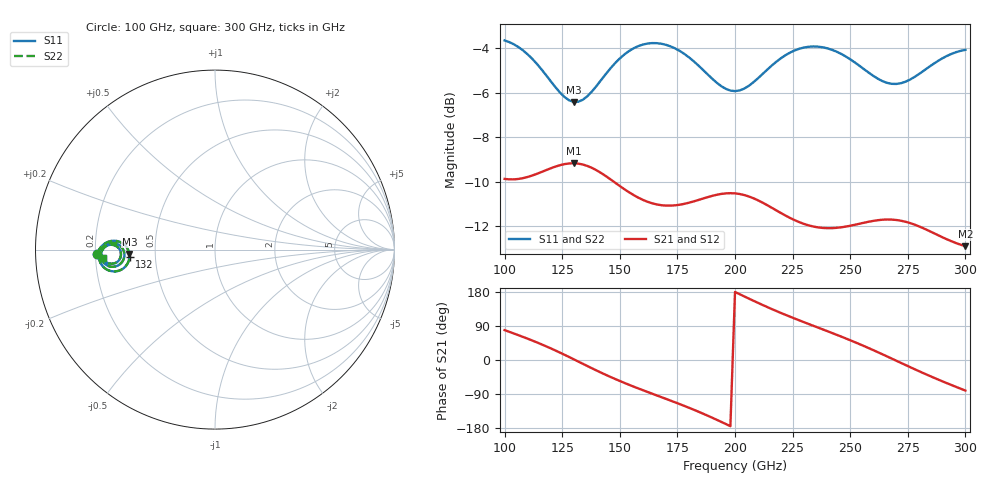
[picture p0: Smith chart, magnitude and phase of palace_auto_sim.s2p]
#  GHZ S DB R 50
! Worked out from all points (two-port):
!   101 points, 100 GHz to 300 GHz, reference 50 ohm
!   highest |S21| = -9.17 dB at 130 GHz (marker M1); lowest = -12.9 dB at 300 GHz (marker M2)
!   |S21| within 3 dB of the highest: start of sweep to 283.5 GHz
!   lowest |S11| = -6.4 dB at 130 GHz (marker M3), VSWR 2.83, Z = 17.7 - j1.1 ohm
!   |S11| at or under -10 dB: nowhere
!   |S22| runs from -6.4 to -3.7 dB; largest |S21 - S12| = 5.9e-14
!   S11 on the Smith chart (normalised r, x): 100 GHz: 0.21, -0.02; 132 GHz: 0.35, -0.04; 300 GHz: 0.23, -0.04
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100  -3.66 -177.7  -9.87 78.8  -9.87 78.8  -3.66 -177.7
116  -4.96 175.0  -9.57 41.4  -9.57 41.4  -4.95 175.0
124  -5.99 177.3  -9.26 19.6  -9.26 19.6  -5.99 177.3
130  -6.42 -177.1  -9.17 1.9  -9.17 1.9  -6.41 -177.1
132  -6.41 -174.9  -9.19 -4.1  -9.19 -4.1  -6.40 -174.9
134  -6.32 -172.8  -9.23 -10.2  -9.23 -10.2  -6.31 -172.8
142  -5.42 -167.8  -9.62 -33.7  -9.62 -33.7  -5.42 -167.8
150  -4.47 -168.6  -10.19 -55.3  -10.19 -55.3  -4.46 -168.6
160  -3.84 -173.4  -10.82 -79.6  -10.82 -79.6  -3.84 -173.4
168  -3.81 -177.9  -11.05 -97.9  -11.05 -97.9  -3.80 -177.9
184  -4.77 176.2  -10.83 -136.1  -10.83 -136.1  -4.76 176.3
192  -5.55 177.7  -10.59 -157.5  -10.59 -157.5  -5.54 177.7
200  -5.93 -177.0  -10.52 179.5  -10.52 179.5  -5.92 -176.9
208  -5.54 -171.7  -10.74 156.4  -10.74 156.4  -5.53 -171.7
216  -4.78 -170.4  -11.17 134.4  -11.17 134.4  -4.77 -170.4
224  -4.20 -172.4  -11.63 114.0  -11.63 114.0  -4.19 -172.4
234  -3.93 -176.7  -12.01 90.3  -12.01 90.3  -3.92 -176.7
252  -4.65 177.4  -11.93 47.1  -11.93 47.1  -4.63 177.4
268  -5.61 -178.1  -11.70 3.8  -11.70 3.8  -5.59 -178.1
276  -5.41 -173.9  -11.86 -18.8  -11.86 -18.8  -5.40 -173.9
284  -4.86 -172.1  -12.20 -40.7  -12.20 -40.7  -4.85 -172.2
300  -4.08 -175.7  -12.89 -80.7  -12.89 -80.7  -4.08 -175.7
